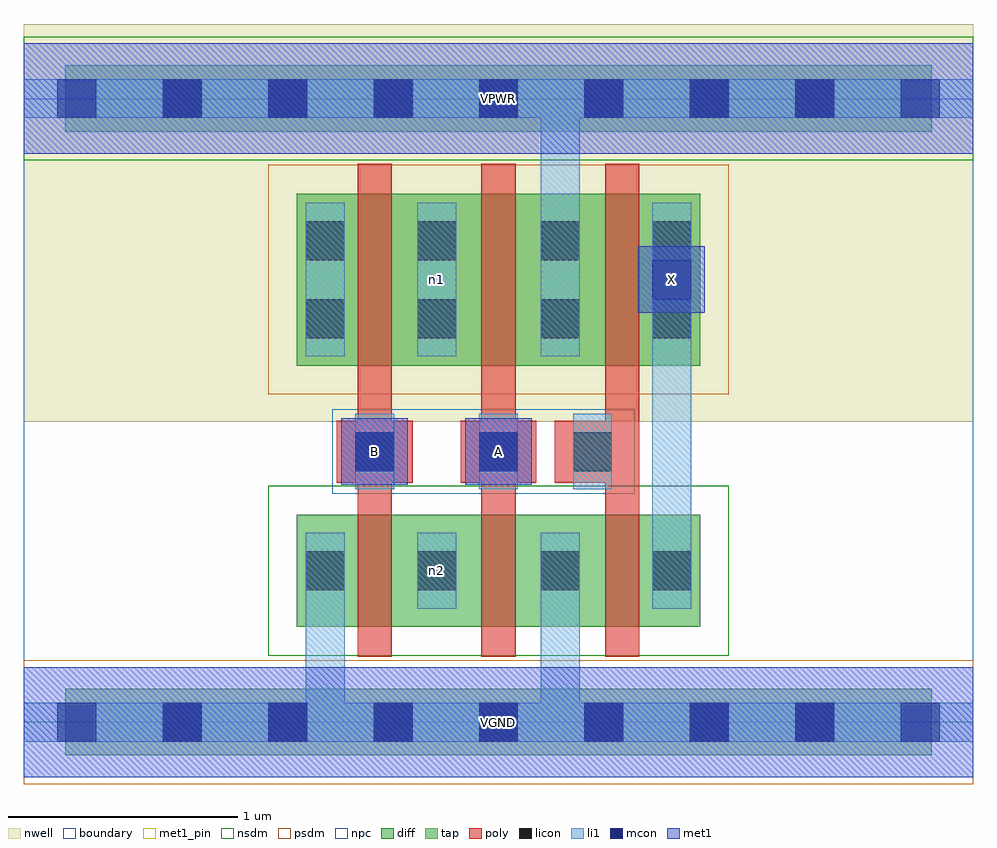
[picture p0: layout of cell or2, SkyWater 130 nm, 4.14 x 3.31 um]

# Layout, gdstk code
import gdstk
lib = gdstk.Library(unit=1e-6, precision=1e-09)
def R(c, l, rs):  # rectangles x0, y0, x1, y1
    for r in rs: c.add(gdstk.rectangle(r[:2], r[2:], *l))
def A(c, l, x, y, w, h, nx, ny, dx, dy):  # array of equal rectangles
    R(c, l, [(x+i*dx, y+j*dy, x+i*dx+w, y+j*dy+h) for i in range(nx) for j in range(ny)])
nwell = (64, 20)
diff = (65, 20)
tap = (65, 44)
poly = (66, 20)
licon = (66, 44)
li1 = (67, 20)
mcon = (67, 44)
met1_pin = (68, 16)
met1 = (68, 20)
nsdm = (93, 44)
psdm = (94, 20)
npc = (95, 20)
boundary = (235, 4)

or2 = lib.new_cell('or2')
R(or2, nwell, [(0,1.31,4.14,3.045)])
R(or2, diff, [(1.19,0.415,2.95,0.905), (1.19,1.555,2.95,2.305)])
R(or2, tap, [(0.18,-0.145,3.96,0.145), (0.18,2.575,3.96,2.865)])
A(or2, poly, 1.455, 0.285, 0.15, 2.15, 3, 1, 0.54, 0)
R(or2, poly, [(1.365,1.045,1.695,1.315), (1.905,1.045,2.235,1.315), (2.315,1.045,2.645,1.315)])
A(or2, licon, 0.605, -0.085, 0.17, 0.17, 7, 2, 0.46, 2.72)
R(or2, licon, [(1.23,0.575,1.4,0.745), (1.715,0.575,1.885,0.745), (2.255,0.575,2.425,0.745), (2.74,0.575,2.91,0.745), (1.445,1.095,1.615,1.265), (1.985,1.095,2.155,1.265), (2.395,1.095,2.565,1.265), (1.23,1.675,1.4,1.845), (1.715,1.675,1.885,1.845), (2.255,1.675,2.425,1.845), (2.74,1.675,2.91,1.845), (1.23,2.015,1.4,2.185), (1.715,2.015,1.885,2.185), (2.255,2.015,2.425,2.185), (2.74,2.015,2.91,2.185)])
R(or2, li1, [(0,-0.085,4.14,0.085), (1.23,-0.085,1.4,0.825), (2.255,-0.085,2.425,0.825), (1.23,0.495,1.4,0.825), (1.715,0.495,1.885,0.825), (2.255,0.495,2.425,0.825), (2.74,0.495,2.91,0.825), (2.74,0.495,2.91,2.265), (1.445,1.015,1.615,1.345), (1.985,1.015,2.155,1.345), (2.395,1.015,2.565,1.345), (1.23,1.595,1.4,2.265), (1.715,1.595,1.885,2.265), (2.255,1.595,2.425,2.265), (2.255,1.595,2.425,2.805), (2.74,1.595,2.91,2.265), (0,2.635,4.14,2.805)])
A(or2, mcon, 0.145, -0.085, 0.17, 0.17, 9, 2, 0.46, 2.72)
R(or2, mcon, [(1.445,1.095,1.615,1.265), (1.985,1.095,2.155,1.265), (2.74,1.845,2.91,2.015)])
R(or2, met1_pin, [(0,-0.24,4.14,0.24), (1.385,1.035,1.675,1.325), (1.925,1.035,2.215,1.325), (2.68,1.785,2.97,2.075), (0,2.48,4.14,2.96)])
R(or2, met1, [(0,-0.24,4.14,0.24), (1.385,1.035,1.675,1.325), (1.925,1.035,2.215,1.325), (2.68,1.785,2.97,2.075), (0,2.48,4.14,2.96)])
R(or2, nsdm, [(1.065,0.29,3.075,1.03), (0,2.45,4.14,2.99)])
R(or2, psdm, [(0,-0.27,4.14,0.27), (1.065,1.43,3.075,2.43)])
R(or2, npc, [(1.345,0.995,2.665,1.365)])
R(or2, boundary, [(0,0,4.14,2.72)])
or2.add(gdstk.Label('n2', (1.8,0.66), layer=67, texttype=5))
or2.add(gdstk.Label('n1', (1.8,1.93), layer=67, texttype=5))
or2.add(gdstk.Label('A', (2.07,1.18), layer=68, texttype=5))
or2.add(gdstk.Label('B', (1.53,1.18), layer=68, texttype=5))
or2.add(gdstk.Label('X', (2.825,1.93), layer=68, texttype=5))
or2.add(gdstk.Label('VPWR', (2.07,2.72), layer=68, texttype=5))
or2.add(gdstk.Label('VGND', (2.07,0), layer=68, texttype=5))
or2.add(gdstk.Label('A', (2.07,1.18), layer=68, texttype=16))
or2.add(gdstk.Label('B', (1.53,1.18), layer=68, texttype=16))
or2.add(gdstk.Label('X', (2.825,1.93), layer=68, texttype=16))
or2.add(gdstk.Label('VPWR', (2.07,2.72), layer=68, texttype=16))
or2.add(gdstk.Label('VGND', (2.07,0), layer=68, texttype=16))

lib.write_gds('or2.gds')
